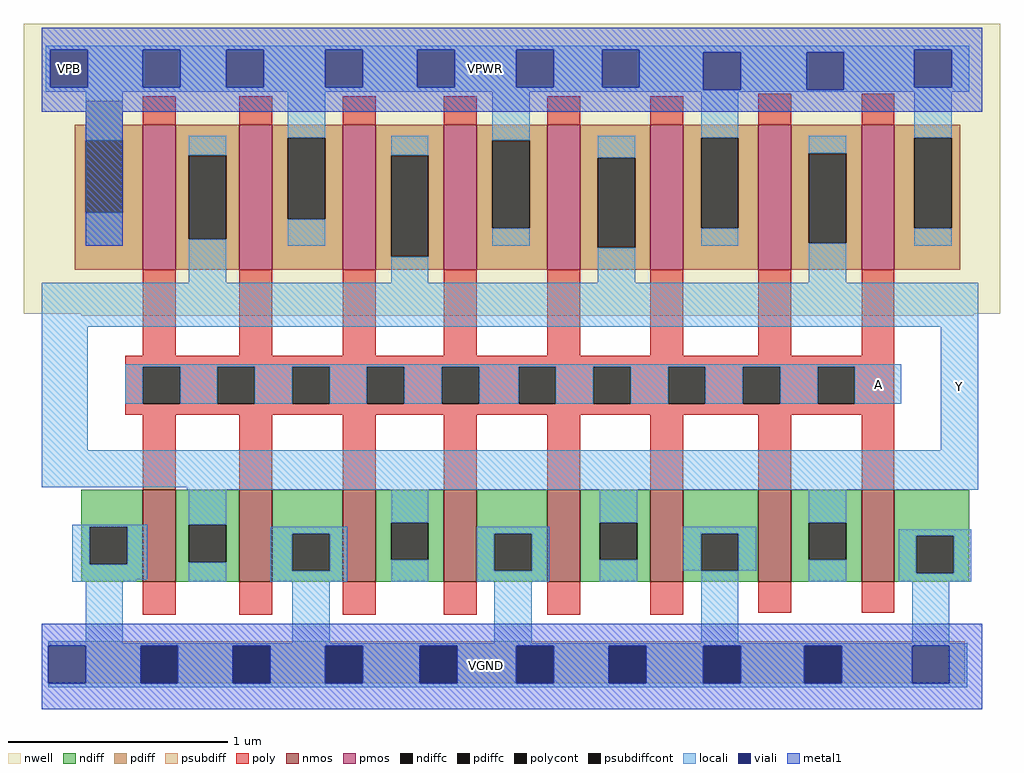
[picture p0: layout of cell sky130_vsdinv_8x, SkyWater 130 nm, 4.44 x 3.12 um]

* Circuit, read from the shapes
.subckt sky130_vsdinv_8x A Y VPWR VGND VPB
XM1 Y A VGND VGND sky130_fd_pr__nfet_01v8 w=0.42 l=0.15 m=8
XM2 Y A VPWR VPB sky130_fd_pr__pfet_01v8 w=0.66 l=0.15 m=8
.ends

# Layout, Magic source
magic
tech sky130A
<< nwell >>
rect -8 160 436 292
rect 18 159 424 160
<< nmos >>
rect 46 38 61 80
rect 90 38 105 80
rect 137 38 152 80
rect 183 38 198 80
rect 230 38 245 80
rect 277 38 292 80
rect 326 38 341 80
rect 373 38 388 80
<< pmos >>
rect 46 180 61 246
rect 90 180 105 246
rect 137 180 152 246
rect 183 180 198 246
rect 230 180 245 246
rect 277 180 292 246
rect 326 180 341 246
rect 373 180 388 246
<< ndiff >>
rect 18 63 46 80
rect 18 46 22 63
rect 39 46 46 63
rect 18 38 46 46
rect 61 64 90 80
rect 61 47 67 64
rect 84 47 90 64
rect 61 38 90 47
rect 105 60 137 80
rect 105 43 114 60
rect 131 43 137 60
rect 105 38 137 43
rect 152 65 183 80
rect 152 48 159 65
rect 176 48 183 65
rect 152 38 183 48
rect 198 60 230 80
rect 198 43 206 60
rect 223 43 230 60
rect 198 38 230 43
rect 245 65 277 80
rect 245 48 254 65
rect 271 48 277 65
rect 245 38 277 48
rect 292 60 326 80
rect 292 43 300 60
rect 317 43 326 60
rect 292 38 326 43
rect 341 65 373 80
rect 341 48 349 65
rect 366 48 373 65
rect 341 38 373 48
rect 388 59 422 80
rect 388 42 398 59
rect 415 42 422 59
rect 388 38 422 42
<< pdiff >>
rect 20 246 37 257
rect 15 239 46 246
rect 15 206 20 239
rect 37 206 46 239
rect 15 180 46 206
rect 61 232 90 246
rect 61 194 67 232
rect 84 194 90 232
rect 61 180 90 194
rect 105 240 137 246
rect 105 203 112 240
rect 129 203 137 240
rect 105 180 137 203
rect 152 232 183 246
rect 152 186 159 232
rect 176 186 183 232
rect 152 180 183 186
rect 198 239 230 246
rect 198 199 205 239
rect 222 199 230 239
rect 198 180 230 199
rect 245 231 277 246
rect 245 190 253 231
rect 270 190 277 231
rect 245 180 277 190
rect 292 240 326 246
rect 292 199 300 240
rect 317 199 326 240
rect 292 180 326 199
rect 341 233 373 246
rect 341 192 349 233
rect 366 192 373 233
rect 341 180 373 192
rect 388 240 418 246
rect 388 199 397 240
rect 414 199 418 240
rect 388 180 418 199
<< ndiffc >>
rect 22 46 39 63
rect 67 47 84 64
rect 114 43 131 60
rect 159 48 176 65
rect 206 43 223 60
rect 254 48 271 65
rect 300 43 317 60
rect 349 48 366 65
rect 398 42 415 59
<< pdiffc >>
rect 20 206 37 239
rect 67 194 84 232
rect 112 203 129 240
rect 159 186 176 232
rect 205 199 222 239
rect 253 190 270 231
rect 300 199 317 240
rect 349 192 366 233
rect 397 199 414 240
<< psubdiff >>
rect 3 9 420 11
rect 3 -8 45 9
rect 62 -8 87 9
rect 104 -8 129 9
rect 146 -8 172 9
rect 189 -8 216 9
rect 233 -8 258 9
rect 275 -8 301 9
rect 318 -8 347 9
rect 364 -8 420 9
<< psubdiffcont >>
rect 45 -8 62 9
rect 87 -8 104 9
rect 129 -8 146 9
rect 172 -8 189 9
rect 216 -8 233 9
rect 258 -8 275 9
rect 301 -8 318 9
rect 347 -8 364 9
<< poly >>
rect 46 246 61 259
rect 90 246 105 259
rect 137 246 152 259
rect 183 246 198 259
rect 230 246 245 259
rect 277 246 292 259
rect 326 246 341 260
rect 373 246 388 260
rect 46 141 61 180
rect 90 141 105 180
rect 137 141 152 180
rect 183 141 198 180
rect 230 141 245 180
rect 277 141 292 180
rect 326 141 341 180
rect 373 141 388 180
rect 38 136 388 141
rect 38 119 46 136
rect 63 119 80 136
rect 97 119 114 136
rect 131 119 148 136
rect 165 119 182 136
rect 199 119 217 136
rect 234 119 251 136
rect 268 119 285 136
rect 302 119 319 136
rect 336 119 353 136
rect 370 119 388 136
rect 38 114 388 119
rect 46 80 61 114
rect 90 80 105 114
rect 137 80 152 114
rect 183 80 198 114
rect 230 80 245 114
rect 277 80 292 114
rect 326 80 341 114
rect 373 80 388 114
rect 46 23 61 38
rect 90 23 105 38
rect 137 23 152 38
rect 183 23 198 38
rect 230 23 245 38
rect 277 23 292 38
rect 326 24 341 38
rect 373 24 388 38
<< polycont >>
rect 46 119 63 136
rect 80 119 97 136
rect 114 119 131 136
rect 148 119 165 136
rect 182 119 199 136
rect 217 119 234 136
rect 251 119 268 136
rect 285 119 302 136
rect 319 119 336 136
rect 353 119 370 136
<< locali >>
rect 2 280 422 282
rect 2 263 4 280
rect 21 263 46 280
rect 63 263 84 280
rect 101 263 129 280
rect 146 263 171 280
rect 188 263 216 280
rect 233 263 255 280
rect 272 279 397 280
rect 272 263 301 279
rect 2 262 301 263
rect 318 262 348 279
rect 365 263 397 279
rect 414 263 422 280
rect 365 262 422 263
rect 2 261 422 262
rect 20 239 37 261
rect 20 191 37 206
rect 67 232 84 241
rect 67 174 84 194
rect 112 240 129 261
rect 112 191 129 203
rect 159 232 176 241
rect 205 239 222 261
rect 205 191 222 199
rect 253 231 270 241
rect 159 174 176 186
rect 300 240 317 261
rect 300 191 317 199
rect 349 233 366 241
rect 253 174 270 190
rect 349 174 366 192
rect 397 240 414 261
rect 397 191 414 199
rect 0 154 426 174
rect 0 98 21 154
rect 38 136 391 137
rect 38 119 46 136
rect 63 119 80 136
rect 97 119 114 136
rect 131 119 148 136
rect 165 119 182 136
rect 199 119 217 136
rect 234 119 251 136
rect 268 119 285 136
rect 302 119 319 136
rect 336 119 353 136
rect 370 119 391 136
rect 409 98 426 154
rect 0 81 426 98
rect 66 80 426 81
rect 67 64 84 80
rect 14 63 48 64
rect 14 46 22 63
rect 39 46 48 63
rect 14 39 48 46
rect 159 65 176 80
rect 14 38 43 39
rect 67 38 84 47
rect 104 60 139 63
rect 104 43 114 60
rect 131 43 139 60
rect 104 38 139 43
rect 254 65 271 80
rect 159 38 176 48
rect 198 60 231 63
rect 198 43 206 60
rect 223 43 231 60
rect 198 38 231 43
rect 349 65 366 80
rect 254 38 271 48
rect 292 60 325 63
rect 292 43 300 60
rect 317 43 325 60
rect 20 11 37 38
rect 3 10 37 11
rect 114 10 131 38
rect 206 10 223 38
rect 300 10 317 43
rect 349 38 366 48
rect 390 59 423 62
rect 390 42 398 59
rect 415 42 423 59
rect 390 38 423 42
rect 396 10 413 38
rect 3 9 421 10
rect 20 -8 45 9
rect 62 -8 87 9
rect 104 -8 129 9
rect 146 -8 172 9
rect 189 -8 216 9
rect 233 -8 258 9
rect 275 -8 301 9
rect 318 -8 347 9
rect 364 -8 396 9
rect 413 -8 421 9
rect 3 -10 421 -8
<< viali >>
rect 4 263 21 280
rect 46 263 63 280
rect 84 263 101 280
rect 129 263 146 280
rect 171 263 188 280
rect 216 263 233 280
rect 255 263 272 280
rect 301 262 318 279
rect 348 262 365 279
rect 397 263 414 280
rect 3 -8 20 9
rect 45 -8 62 9
rect 87 -8 104 9
rect 129 -8 146 9
rect 172 -8 189 9
rect 216 -8 233 9
rect 258 -8 275 9
rect 301 -8 318 9
rect 347 -8 364 9
rect 396 -8 413 9
<< metal1 >>
rect 0 280 428 290
rect 0 263 4 280
rect 21 263 46 280
rect 63 263 84 280
rect 101 263 129 280
rect 146 263 171 280
rect 188 263 216 280
rect 233 263 255 280
rect 272 279 397 280
rect 272 263 301 279
rect 0 262 301 263
rect 318 262 348 279
rect 365 263 397 279
rect 414 263 428 280
rect 365 262 428 263
rect 0 252 428 262
rect 20 191 37 252
rect 0 9 428 19
rect 0 -8 3 9
rect 20 -8 45 9
rect 62 -8 87 9
rect 104 -8 129 9
rect 146 -8 172 9
rect 189 -8 216 9
rect 233 -8 258 9
rect 275 -8 301 9
rect 318 -8 347 9
rect 364 -8 396 9
rect 413 -8 428 9
rect 0 -20 428 -8
<< labels >>
flabel metal1 189 -10 216 10 0 FreeSans 120 0 0 0 VGND
port 4 nsew ground bidirectional
flabel nwell 4 263 21 280 0 FreeSans 1 0 0 0 VPB
port 5 nsew power bidirectional
flabel metal1 188 261 216 282 0 FreeSans 120 0 0 0 VPWR
port 3 nsew power bidirectional
flabel locali 370 119 391 137 0 FreeSans 120 0 0 0 A
port 1 nsew signal input
flabel locali 409 80 426 174 0 FreeSans 120 0 0 0 Y
port 2 nsew signal output
<< properties >>
string LEFclass CORE
string LEFsite unithd
string FIXED_BBOX 0 0 428 272
string LEFsymmetry X Y R90
<< end >>
